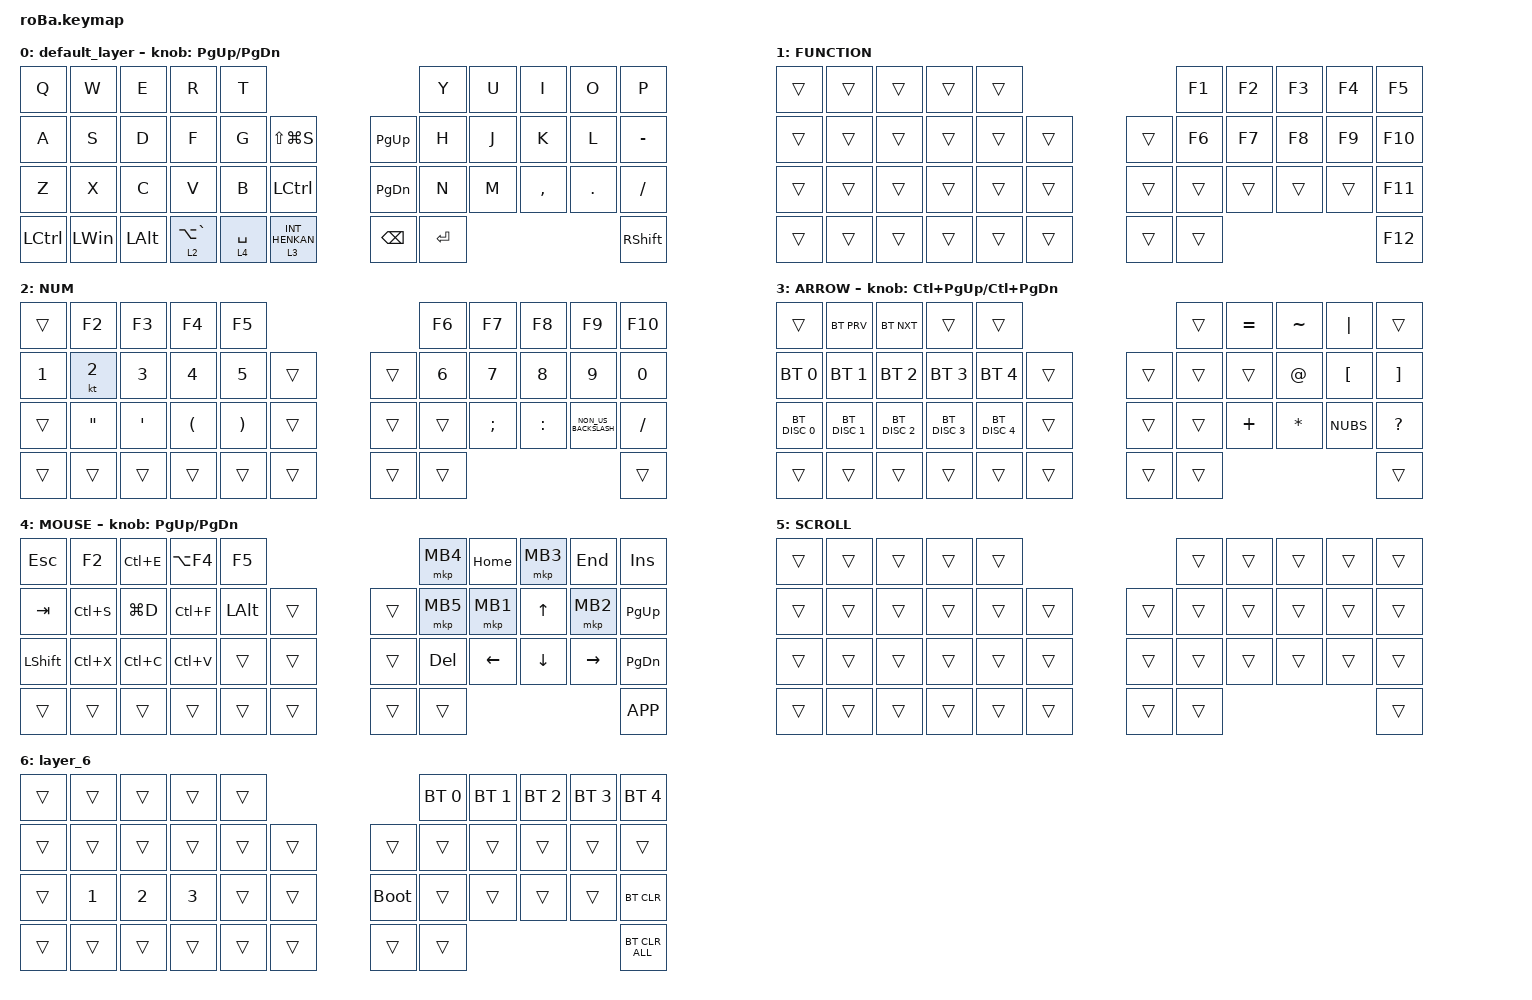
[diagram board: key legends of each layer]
#include <behaviors.dtsi>
#include <dt-bindings/zmk/bt.h>
#include <dt-bindings/zmk/keys.h>
#include <dt-bindings/zmk/keys.h>
#include <dt-bindings/zmk/mouse.h>

#define MOUSE 4
#define SCROLL 5
#define NUM 6

&mt {
    flavor = "balanced";
    quick-tap-ms = <0>;
};

/ {
    combos {
        compatible = "zmk,combos";

        tab {
            bindings = <&kp TAB>;
            key-positions = <11 12>;
        };

        shift_tab {
            bindings = <&kp LS(TAB)>;
            key-positions = <12 13>;
        };

        muhennkann {
            bindings = <&to_layer_0 INT_MUHENKAN>;
            key-positions = <11 10>;
        };

        double_quotation {
            bindings = <&kp DOUBLE_QUOTES>;
            key-positions = <20 21>;
        };

        eq {
            bindings = <&kp EQUAL>;
            key-positions = <24 25>;
        };
    };

    macros {
        to_layer_0: to_layer_0 {
            compatible = "zmk,behavior-macro-one-param";
            #binding-cells = <1>;
            bindings = <&to 0 &macro_param_1to1 &kp MACRO_PLACEHOLDER>;
            label = "TO_LAYER_0";
        };
    };

    behaviors {
        lt_to_layer_0: lt_to_layer_0 {
            compatible = "zmk,behavior-hold-tap";
            label = "LAYER_TAP_TO_0";
            bindings = <&mo>, <&to_layer_0>;

            #binding-cells = <2>;
            tapping-term-ms = <200>;
        };
    };

    keymap {
        compatible = "zmk,keymap";

        default_layer {
            bindings = <
&kp Q      &kp W         &kp E         &kp R                       &kp T                                                                 &kp Y      &kp U  &kp I      &kp O    &kp P
&kp A      &kp S         &kp D         &kp F                       &kp G                   &kp LS(LG(S))                  &kp PG_UP      &kp H      &kp J  &kp K      &kp L    &kp MINUS
&kp Z      &kp X         &kp C         &kp V                       &kp B                   &kp LCTRL                      &kp PG_DN      &kp N      &kp M  &kp COMMA  &kp DOT  &kp SLASH
&kp LCTRL  &kp LEFT_WIN  &kp LEFT_ALT  &lt_to_layer_0 2 LA(GRAVE)  &lt_to_layer_0 4 SPACE  &lt_to_layer_0 3 INT_HENKAN    &kp BACKSPACE  &kp ENTER                             &kp RIGHT_SHIFT
            >;

            sensor-bindings = <&inc_dec_kp PG_UP PAGE_DOWN>;
        };

        FUNCTION {
            bindings = <
&trans  &trans  &trans  &trans  &trans                    &kp F1  &kp F2  &kp F3  &kp F4  &kp F5
&trans  &trans  &trans  &trans  &trans  &trans    &trans  &kp F6  &kp F7  &kp F8  &kp F9  &kp F10
&trans  &trans  &trans  &trans  &trans  &trans    &trans  &trans  &trans  &trans  &trans  &kp F11
&trans  &trans  &trans  &trans  &trans  &trans    &trans  &trans                          &kp F12
            >;
        };

        NUM {
            bindings = <
&trans        &kp F2             &kp F3        &kp F4                &kp F5                                   &kp F6        &kp F7         &kp F8        &kp F9                &kp F10
&kp NUMBER_1  &kt NUMBER_2       &kp NUMBER_3  &kp NUMBER_4          &kp N5                 &trans    &trans  &kp NUMBER_6  &kp NUMBER_7   &kp NUMBER_8  &kp NUMBER_9          &kp N0
&trans        &kp DOUBLE_QUOTES  &kp SQT       &kp LEFT_PARENTHESIS  &kp RIGHT_PARENTHESIS  &trans    &trans  &trans        &kp SEMICOLON  &kp COLON     &kp NON_US_BACKSLASH  &kp SLASH
&trans        &trans             &trans        &trans                &trans                 &trans    &trans  &trans                                                           &trans
            >;
        };

        ARROW {
            bindings = <
&trans         &bt BT_PRV     &bt BT_NXT     &trans         &trans                           &trans  &kp EQUAL  &kp TILDE     &kp PIPE          &trans
&bt BT_SEL 0   &bt BT_SEL 1   &bt BT_SEL 2   &bt BT_SEL 3   &bt BT_SEL 4   &trans    &trans  &trans  &trans     &kp AT_SIGN   &kp LEFT_BRACKET  &kp RIGHT_BRACKET
&bt BT_DISC 0  &bt BT_DISC 1  &bt BT_DISC 2  &bt BT_DISC 3  &bt BT_DISC 4  &trans    &trans  &trans  &kp PLUS   &kp ASTERISK  &kp NUBS          &kp QUESTION
&trans         &trans         &trans         &trans         &trans         &trans    &trans  &trans                                             &trans
            >;

            sensor-bindings = <&inc_dec_kp LC(PAGE_UP) LC(PAGE_DOWN)>;
        };

        MOUSE {
            bindings = <
&kp ESC         &kp F2     &kp LC(E)  &kp LA(F4)  &kp F5                          &mkp MB4    &kp HOME  &mkp MB3      &kp END    &kp INS
&kp TAB         &kp LC(S)  &kp LG(D)  &kp LC(F)   &kp LEFT_ALT  &trans    &trans  &mkp MB5    &mkp MB1  &kp UP_ARROW  &mkp MB2   &kp PG_UP
&kp LEFT_SHIFT  &kp LC(X)  &kp LC(C)  &kp LC(V)   &trans        &trans    &trans  &kp DELETE  &kp LEFT  &kp DOWN      &kp RIGHT  &kp PAGE_DOWN
&trans          &trans     &trans     &trans      &trans        &trans    &trans  &trans                                         &kp K_APP
            >;

            sensor-bindings = <&inc_dec_kp PG_UP PAGE_DOWN>;
        };

        SCROLL {
            bindings = <
&trans  &trans  &trans  &trans  &trans                    &trans  &trans  &trans  &trans  &trans
&trans  &trans  &trans  &trans  &trans  &trans    &trans  &trans  &trans  &trans  &trans  &trans
&trans  &trans  &trans  &trans  &trans  &trans    &trans  &trans  &trans  &trans  &trans  &trans
&trans  &trans  &trans  &trans  &trans  &trans    &trans  &trans                          &trans
            >;
        };

        layer_6 {
            bindings = <
&trans  &trans        &trans        &trans        &trans                         &bt BT_SEL 0  &bt BT_SEL 1  &bt BT_SEL 2  &bt BT_SEL 3  &bt BT_SEL 4
&trans  &trans        &trans        &trans        &trans  &trans    &trans       &trans        &trans        &trans        &trans        &trans
&trans  &kp NUMBER_1  &kp NUMBER_2  &kp NUMBER_3  &trans  &trans    &bootloader  &trans        &trans        &trans        &trans        &bt BT_CLR
&trans  &trans        &trans        &trans        &trans  &trans    &trans       &trans                                                  &bt BT_CLR_ALL
            >;
        };
    };
};
